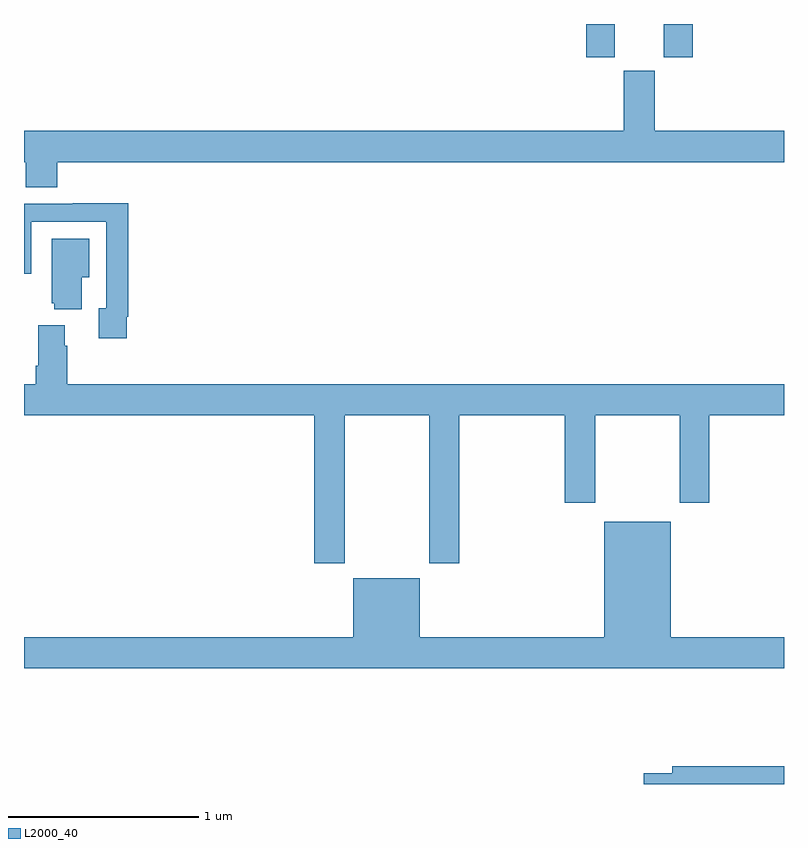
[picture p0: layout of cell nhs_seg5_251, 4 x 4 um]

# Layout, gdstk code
import gdstk
lib = gdstk.Library(unit=1e-6, precision=1e-09)
def R(c, l, rs):  # rectangles x0, y0, x1, y1
    for r in rs: c.add(gdstk.rectangle(r[:2], r[2:], *l))
def P(c, l, *ps):  # polygons
    for p in ps: c.add(gdstk.Polygon(p, *l))
L2000_40 = (2000, 40)

nhs_seg5_251 = lib.new_cell('nhs_seg5_251')
R(nhs_seg5_251, L2000_40, [(127.958,878.625,128.11,878.799), (128.366,878.625,128.519,878.799)])
P(nhs_seg5_251, L2000_40, [(125.174,878.072),(129,878.072),(129,878.236),(128.32,878.236),(128.32,878.553),(128.156,878.553),(128.156,878.236),(125,878.236),(125,878.072),(125.009,878.072),(125.009,877.939),(125.174,877.939)],
  [(125.542,877.258),(125.549,877.258),(125.549,877.856),(125.257,877.856),(125.257,877.854),(125,877.854),(125,877.485),(125.037,877.485),(125.037,877.758),(125.433,877.758),(125.433,877.302),(125.393,877.302),(125.393,877.146),(125.542,877.146)],
  [(125.305,877.466),(125.344,877.466),(125.344,877.669),(125.147,877.669),(125.147,877.329),(125.159,877.329),(125.159,877.298),(125.305,877.298)],
  [(126.687,876.74),(127.132,876.74),(127.132,875.961),(127.292,875.961),(127.292,876.74),(127.847,876.74),(127.847,876.279),(128.007,876.279),(128.007,876.74),(128.452,876.74),(128.452,876.279),(128.607,876.279),(128.607,876.74),(129,876.74),(129,876.904),(125.228,876.904),(125.228,877.106),(125.215,877.106),(125.215,877.213),(125.075,877.213),(125.075,877),(125.063,877),(125.063,876.904),(125,876.904),(125,876.74),(126.527,876.74),(126.527,875.961),(126.687,875.961)],
  [(129,875.572),(128.404,875.572),(128.404,876.178),(128.054,876.178),(128.054,875.572),(127.084,875.572),(127.084,875.881),(126.734,875.881),(126.734,875.572),(125,875.572),(125,875.408),(129,875.408)],
  [(129,874.892),(128.411,874.892),(128.411,874.856),(128.262,874.856),(128.262,874.799),(129,874.799)])

lib.write_gds('nhs_seg5_251.gds')
